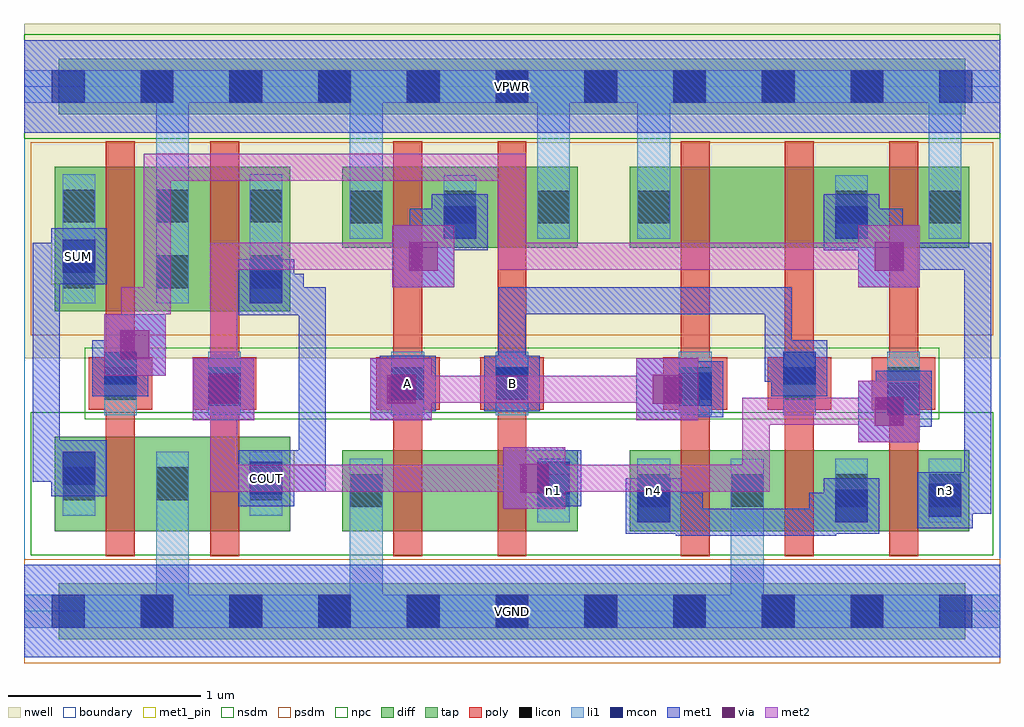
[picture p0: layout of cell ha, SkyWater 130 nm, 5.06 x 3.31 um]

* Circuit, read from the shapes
.subckt ha A B COUT SUM VGND VPWR n1 n3 n4
XM1 VGND n3 SUM VGND sky130_fd_pr__nfet_01v8 w=0.49 l=0.15
XM2 COUT n1 VGND VGND sky130_fd_pr__nfet_01v8 w=0.49 l=0.15
XM3 n2 A VGND VGND sky130_fd_pr__nfet_01v8 w=0.42 l=0.15
XM4 n1 B n2 VGND sky130_fd_pr__nfet_01v8 w=0.42 l=0.15
XM5 VGND A n4 VGND sky130_fd_pr__nfet_01v8 w=0.42 l=0.15
XM6 n4 B VGND VGND sky130_fd_pr__nfet_01v8 w=0.42 l=0.15
XM7 n3 n1 n4 VGND sky130_fd_pr__nfet_01v8 w=0.42 l=0.15
XM8 VPWR n3 SUM VPWR sky130_fd_pr__pfet_01v8 w=0.75 l=0.15
XM9 COUT n1 VPWR VPWR sky130_fd_pr__pfet_01v8 w=0.75 l=0.15
XM10 n1 A VPWR VPWR sky130_fd_pr__pfet_01v8 w=0.42 l=0.15
XM11 VPWR B n1 VPWR sky130_fd_pr__pfet_01v8 w=0.42 l=0.15
XM12 n5 A VPWR VPWR sky130_fd_pr__pfet_01v8 w=0.42 l=0.15
XM13 n3 B n5 VPWR sky130_fd_pr__pfet_01v8 w=0.42 l=0.15
XM14 VPWR n1 n3 VPWR sky130_fd_pr__pfet_01v8 w=0.42 l=0.15
.ends

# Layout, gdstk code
import gdstk
lib = gdstk.Library(unit=1e-6, precision=1e-09)
def R(c, l, rs):  # rectangles x0, y0, x1, y1
    for r in rs: c.add(gdstk.rectangle(r[:2], r[2:], *l))
def A(c, l, x, y, w, h, nx, ny, dx, dy):  # array of equal rectangles
    R(c, l, [(x+i*dx, y+j*dy, x+i*dx+w, y+j*dy+h) for i in range(nx) for j in range(ny)])
nwell = (64, 20)
diff = (65, 20)
tap = (65, 44)
poly = (66, 20)
licon = (66, 44)
li1 = (67, 20)
mcon = (67, 44)
met1_pin = (68, 16)
met1 = (68, 20)
via = (68, 44)
met2 = (69, 20)
nsdm = (93, 44)
psdm = (94, 20)
npc = (95, 20)
boundary = (235, 4)

c_ha = lib.new_cell('ha')
R(c_ha, nwell, [(0,1.31,5.06,3.045)])
R(c_ha, diff, [(0.16,0.415,1.38,0.905), (1.65,0.415,2.87,0.835), (3.14,0.415,4.9,0.835), (0.16,1.555,1.38,2.305), (1.65,1.885,2.87,2.305), (3.14,1.885,4.9,2.305)])
R(c_ha, tap, [(0.18,-0.145,4.88,0.145), (0.18,2.575,4.88,2.865)])
A(c_ha, poly, 3.405, 0.285, 0.15, 2.15, 3, 1, 0.54, 0)
A(c_ha, poly, 3.315, 1.045, 0.33, 0.27, 3, 1, 0.54, 0)
R(c_ha, poly, [(0.425,0.285,0.575,2.435), (0.965,0.285,1.115,2.435), (1.915,0.285,2.065,2.435), (2.455,0.285,2.605,2.435), (0.335,1.045,0.665,1.315), (0.875,1.045,1.205,1.315), (1.825,1.045,2.155,1.315), (2.365,1.045,2.695,1.315)])
A(c_ha, licon, 0.605, -0.085, 0.17, 0.17, 9, 2, 0.46, 2.72)
A(c_ha, licon, 0.2, 0.575, 0.17, 0.17, 3, 2, 0.485, 1.1)
A(c_ha, licon, 3.395, 1.095, 0.17, 0.17, 3, 1, 0.54, 0)
A(c_ha, licon, 1.69, 2.01, 0.17, 0.17, 3, 1, 0.485, 0)
A(c_ha, licon, 0.2, 2.015, 0.17, 0.17, 3, 1, 0.485, 0)
R(c_ha, licon, [(1.69,0.54,1.86,0.71), (2.66,0.54,2.83,0.71), (3.18,0.54,3.35,0.71), (3.665,0.54,3.835,0.71), (4.205,0.54,4.375,0.71), (4.69,0.54,4.86,0.71), (0.415,1.095,0.585,1.265), (0.955,1.095,1.125,1.265), (1.905,1.095,2.075,1.265), (2.445,1.095,2.615,1.265), (3.18,2.01,3.35,2.18), (4.205,2.01,4.375,2.18), (4.69,2.01,4.86,2.18)])
A(c_ha, li1, 0.2, 0.495, 0.17, 0.33, 3, 1, 0.485, 0)
A(c_ha, li1, 3.395, 1.015, 0.17, 0.33, 3, 1, 0.54, 0)
A(c_ha, li1, 0.2, 1.595, 0.17, 0.67, 3, 1, 0.485, 0)
A(c_ha, li1, 1.69, 1.93, 0.17, 0.33, 3, 1, 0.485, 0)
R(c_ha, li1, [(0,-0.085,5.06,0.085), (0.685,-0.085,0.855,0.825), (1.69,-0.085,1.86,0.79), (3.665,-0.085,3.835,0.79), (1.69,0.46,1.86,0.79), (2.66,0.46,2.83,0.79), (3.18,0.46,3.35,0.79), (3.665,0.46,3.835,0.79), (4.205,0.46,4.375,0.79), (4.69,0.46,4.86,0.79), (0.415,1.015,0.585,1.345), (0.955,1.015,1.125,1.345), (1.905,1.015,2.075,1.345), (2.445,1.015,2.615,1.345), (0.685,1.595,0.855,2.805), (1.69,1.93,1.86,2.805), (2.66,1.93,2.83,2.805), (3.18,1.93,3.35,2.26), (3.18,1.93,3.35,2.805), (4.205,1.93,4.375,2.26), (4.69,1.93,4.86,2.26), (4.69,1.93,4.86,2.805), (0,2.635,5.06,2.805)])
A(c_ha, mcon, 0.145, -0.085, 0.17, 0.17, 11, 2, 0.46, 2.72)
R(c_ha, mcon, [(3.18,0.46,3.35,0.63), (4.205,0.46,4.375,0.63), (4.69,0.49,4.86,0.66), (1.17,0.605,1.34,0.775), (2.66,0.605,2.83,0.775), (0.2,0.655,0.37,0.825), (4.475,1.015,4.645,1.185), (0.955,1.065,1.125,1.235), (3.395,1.065,3.565,1.235), (1.905,1.095,2.075,1.265), (2.445,1.095,2.615,1.265), (0.415,1.175,0.585,1.345), (3.935,1.175,4.105,1.345), (1.17,1.595,1.34,1.765), (0.2,1.755,0.37,1.925), (2.175,1.93,2.345,2.1), (4.205,1.93,4.375,2.1)])
R(c_ha, met1_pin, [(0,-0.24,5.06,0.24), (1.11,0.545,1.4,0.835), (1.845,1.035,2.135,1.325), (2.385,1.035,2.675,1.325), (0.14,1.695,0.43,1.985), (0,2.48,5.06,2.96)])
R(c_ha, met1, [(0,-0.24,5.06,0.24), (3.38,0.39,3.52,0.615), (3.38,0.39,4.21,0.53), (4.07,0.39,4.21,0.615), (3.12,0.4,3.41,0.69), (4.145,0.4,4.435,0.69), (4.63,0.43,4.92,0.72), (3.195,0.475,3.52,0.615), (4.07,0.475,4.36,0.615), (4.705,0.505,5.015,0.645), (4.875,0.505,5.015,1.91), (2.485,0.53,2.805,0.85), (1.11,0.545,1.4,0.835), (2.6,0.545,2.89,0.835), (0.14,0.595,0.43,0.885), (1.185,0.62,1.45,0.76), (1.31,0.62,1.565,0.76), (1.4,0.62,1.425,0.835), (1.425,0.62,1.565,1.68), (2.575,0.62,2.815,0.76), (0.045,0.67,0.355,0.81), (0.045,0.67,0.185,0.99), (0.045,0.85,0.185,1.91), (4.325,0.875,4.645,1.195), (4.415,0.955,4.705,1.245), (4.415,0.965,4.555,1.17), (0.875,0.99,1.195,1.31), (1.795,0.99,2.115,1.31), (3.175,0.99,3.495,1.31), (0.895,1.005,1.185,1.295), (3.335,1.005,3.625,1.295), (4.415,1.03,4.63,1.17), (1.845,1.035,2.135,1.325), (2.385,1.035,2.675,1.325), (0.965,1.08,1.11,1.22), (1.885,1.08,2.025,1.22), (2.46,1.08,2.6,1.22), (2.46,1.08,2.6,1.68), (3.265,1.08,3.55,1.22), (0.355,1.115,0.645,1.405), (3.875,1.115,4.165,1.405), (0.43,1.19,0.645,1.33), (0.505,1.19,0.645,1.45), (3.84,1.19,3.98,1.45), (3.84,1.19,4.09,1.33), (0.415,1.22,0.735,1.54), (3.84,1.31,3.98,1.68), (1.11,1.535,1.4,1.825), (1.4,1.535,1.425,1.68), (1.31,1.54,1.45,1.75), (1.31,1.54,1.565,1.68), (2.46,1.54,3.98,1.68), (1.185,1.61,1.45,1.75), (1.91,1.68,2.23,2), (4.325,1.68,4.645,2), (0.14,1.695,0.43,1.985), (0.045,1.77,0.355,1.91), (2,1.77,2.14,2.085), (4.415,1.77,4.555,2.085), (4.415,1.77,5.015,1.91), (2.115,1.87,2.405,2.16), (4.145,1.87,4.435,2.16), (2,1.945,2.33,2.085), (4.22,1.945,4.555,2.085), (0,2.48,5.06,2.96)])
R(c_ha, via, [(2.57,0.615,2.72,0.765), (4.41,0.96,4.56,1.11), (0.96,1.075,1.11,1.225), (1.88,1.075,2.03,1.225), (3.26,1.075,3.41,1.225), (0.5,1.305,0.65,1.455), (1.995,1.765,2.145,1.915), (4.41,1.765,4.56,1.915)])
R(c_ha, met2, [(2.485,0.53,2.805,0.85), (0.965,0.62,1.105,1.22), (0.965,0.62,2.715,0.76), (2.575,0.62,3.865,0.76), (3.725,0.62,3.865,1.105), (4.325,0.875,4.645,1.195), (3.725,0.965,4.555,1.105), (0.875,0.99,1.195,1.31), (1.795,0.99,2.115,1.31), (3.175,0.99,3.495,1.31), (0.965,1.08,1.105,1.91), (1.885,1.08,3.405,1.22), (0.415,1.22,0.735,1.54), (0.505,1.31,0.645,1.68), (0.505,1.54,0.76,1.68), (0.62,1.54,0.76,2.37), (1.91,1.68,2.23,2), (4.325,1.68,4.645,2), (0.965,1.77,2.14,1.91), (2.46,1.77,2.6,2.37), (2.46,1.77,4.555,1.91), (0.62,2.23,2.6,2.37)])
R(c_ha, nsdm, [(0.035,0.29,5.025,1.03), (0,2.45,5.06,2.99)])
R(c_ha, psdm, [(0,-0.27,5.06,0.27), (0.035,1.43,5.025,2.43)])
R(c_ha, npc, [(0.315,0.995,4.745,1.365)])
R(c_ha, boundary, [(0,0,5.06,2.72)])
c_ha.add(gdstk.Label('n1', (2.745,0.625), layer=67, texttype=5))
c_ha.add(gdstk.Label('n4', (3.265,0.625), layer=67, texttype=5))
c_ha.add(gdstk.Label('n3', (4.775,0.625), layer=67, texttype=5))
c_ha.add(gdstk.Label('A', (1.99,1.18), layer=68, texttype=5))
c_ha.add(gdstk.Label('B', (2.53,1.18), layer=68, texttype=5))
c_ha.add(gdstk.Label('SUM', (0.285,1.84), layer=68, texttype=5))
c_ha.add(gdstk.Label('COUT', (1.255,0.69), layer=68, texttype=5))
c_ha.add(gdstk.Label('VPWR', (2.53,2.72), layer=68, texttype=5))
c_ha.add(gdstk.Label('VGND', (2.53,0), layer=68, texttype=5))
c_ha.add(gdstk.Label('A', (1.99,1.18), layer=68, texttype=16))
c_ha.add(gdstk.Label('B', (2.53,1.18), layer=68, texttype=16))
c_ha.add(gdstk.Label('SUM', (0.285,1.84), layer=68, texttype=16))
c_ha.add(gdstk.Label('COUT', (1.255,0.69), layer=68, texttype=16))
c_ha.add(gdstk.Label('VPWR', (2.53,2.72), layer=68, texttype=16))
c_ha.add(gdstk.Label('VGND', (2.53,0), layer=68, texttype=16))

lib.write_gds('ha.gds')
